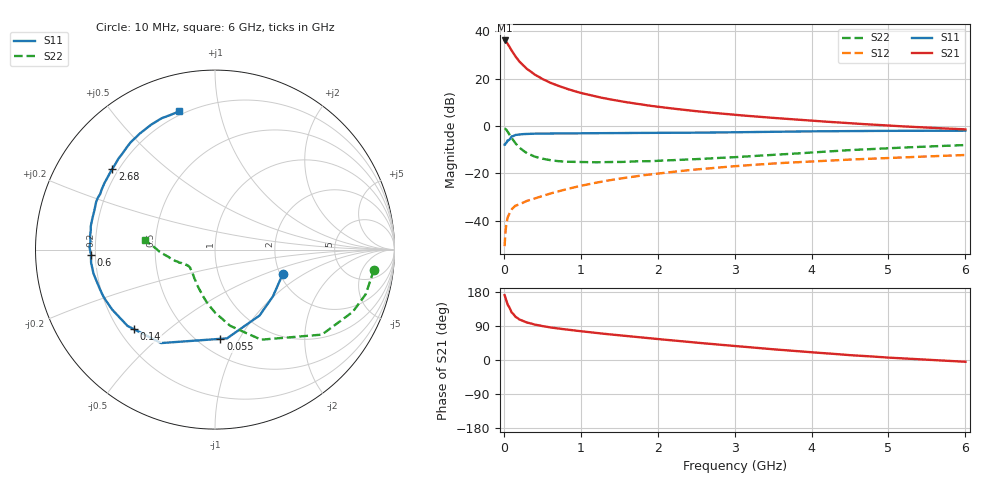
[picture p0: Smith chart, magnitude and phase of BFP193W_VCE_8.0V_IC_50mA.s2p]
! Infineon Technologies  Discrete & RF Semiconductors
! BFP193W
! VCE = 8.0 V,  IC =  50 mA
! Common Emitter S-Parameters:  Jan 2016
# GHz  S  MA  R  50
!  f  S11  S21  S12  S22
! GHz  MAG  ANG  MAG  ANG  MAG  ANG  MAG  ANG
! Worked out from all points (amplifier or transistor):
!   210 points, 10 MHz to 6 GHz, reference 50 ohm
!   highest |S21| = 36.1 dB at 10 MHz (marker M1)
!   |S21| within 3 dB of that: start of sweep to 77.81 MHz
!   unconditionally stable (mu >= 1): 707.7 MHz to 4.631 GHz
!   at 185 MHz: K = 0.50, MSG = 30.6 dB, |S12| = -33.3 dB
!   at 1.52 GHz: K = 1.11, MAG = 14.3 dB, |S12| = -22.2 dB
!   at 6 GHz: K = 0.96, MSG = 5.4 dB, |S12| = -12.3 dB
!   S11 on the Smith chart (normalised r, x): 10 MHz: 2.07, -0.67; 55 MHz: 0.63, -0.84; 140 MHz: 0.26, -0.39; 600 MHz: 0.18, -0.02; 2.68 GHz: 0.18, +0.34; 6 GHz: 0.18, +0.76
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0.01  0.4014 -19.6  63.94 171.1  0.0029 82.2  0.893 -7.2
0.02  0.4148 -38.9  62.46 164.8  0.0055 75.4  0.8756 -16.5
0.03  0.4433 -55.9  60.39 158.0  0.0078 72.5  0.8425 -24.3
0.05  0.499 -82.3  54.12 146.0  0.0118 62.1  0.761 -38.5
0.055  0.498 -86.5  52.43 144.5  0.0123 60.3  0.7366 -40.3
0.1  0.6013 -120.0  39.47 125.9  0.0173 49.3  0.5638 -62.9
0.14  0.6324 -135.4  31.42 117.1  0.02 45.3  0.4559 -74.8
0.15  0.6468 -138.9  29.56 114.2  0.0207 44.5  0.433 -78.7
0.2  0.6631 -149.7  23.16 107.2  0.0221 44.3  0.3526 -89.7
0.28  0.6765 -159.7  17.22 100.4  0.0254 45.6  0.2807 -101.8
0.4  0.69 -168.8  12.22 93.5  0.0294 49.4  0.2261 -115.0
0.5  0.6942 -174.0  9.856 89.4  0.0331 52.3  0.2041 -122.8
0.6  0.6916 -177.7  8.235 86.1  0.0374 54.5  0.1904 -128.8
0.8  0.695 176.2  6.222 80.7  0.0456 58.1  0.1763 -136.4
1.02  0.7006 171.0  4.901 75.6  0.0553 59.7  0.1729 -142.4
1.4  0.7051 163.6  3.601 67.2  0.0724 60.4  0.1742 -148.0
2.02  0.7139 152.5  2.525 54.9  0.1001 58.2  0.1848 -153.0
2.68  0.7277 141.7  1.925 42.7  0.1282 54.0  0.2065 -159.1
3.1  0.7406 135.5  1.67 35.4  0.1454 50.9  0.2247 -163.3
4.1  0.7721 121.7  1.26 18.9  0.182 43.4  0.2819 -174.1
5.1  0.7897 111.4  0.999 5.2  0.2145 36.7  0.3451 177.0
6  0.7959 104.4  0.848 -4.7  0.2439 31.4  0.3961 172.1
